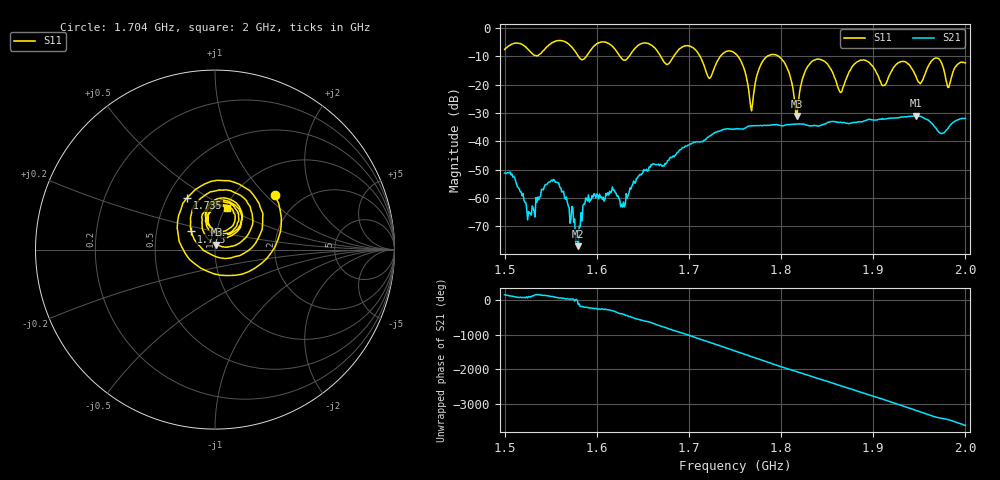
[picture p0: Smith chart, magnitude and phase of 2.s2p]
! NanoVNA-App by SYSJOINT et al v1.1.209 (+OD18)
! Date: 2026-01-21 14:49:24
! Start: 1,5GHz Stop: 2GHz Points: 501
! S-Parameter data: F S11 S21 S12 S22
# Hz S RI R 50
!  Frequency  S11_Real  S11_Imag  S21_Real  S21_Imag  S12_Real  S12_Imag  S22_Real  S22_Imag
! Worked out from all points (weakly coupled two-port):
!   501 points, 1.5 GHz to 2 GHz, reference 50 ohm
!   highest |S21| = -31.02 dB at 1.946 GHz (marker M1); lowest = -77.0 dB at 1.58 GHz (marker M2)
!   lowest |S11| = -31.1 dB at 1.817 GHz (marker M3), VSWR 1.06, Z = 50.7 + j2.71 ohm
!   |S11| at or under -10 dB: 1.712 GHz to 1.734 GHz (22.24 MHz wide, 1.29 % of centre); 1.753 GHz to 1.785 GHz (32.16 MHz wide, 1.82 % of centre); 1.797 GHz to end of sweep (the widest 3 of 6)
!   S12 and S22 are empty: the file has one direction only
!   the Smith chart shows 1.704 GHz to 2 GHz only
!   S11 on the Smith chart (normalised r, x): 1.704 GHz: 1.49, +1.12; 1.735 GHz: 0.63, +0.41; 1.775 GHz: 0.75, +0.16; 2 GHz: 1.01, +0.50
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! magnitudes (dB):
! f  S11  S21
! 1.5 GHz  -7.7  -51.2
! 1.527 GHz  -8.1  -65.4
! 1.557 GHz  -4.6  -54.6
! 1.58 GHz  -10.0  -77.0
! 1.584 GHz  -11.3  -68.1
! 1.607 GHz  -5.0  -59.7
! 1.629 GHz  -11.4  -61.4
! 1.667 GHz  -8.8  -48.1
! 1.704 GHz  -7.0  -40.6
! 1.722 GHz  -17.9  -38.3
! 1.735 GHz  -9.7  -36.2
! 1.75 GHz  -9.0  -35.7
! 1.768 GHz  -29.3  -34.6
! 1.775 GHz  -15.6  -34.5
! 1.8 GHz  -10.8  -34.5
! 1.817 GHz  -31.1  -34.0
! 1.834 GHz  -11.7  -34.5
! 1.864 GHz  -22.7  -33.3
! 1.886 GHz  -11.4  -33.2
! 1.917 GHz  -17.1  -31.9
! 1.946 GHz  -16.8  -31.0
! 2 GHz  -12.4  -31.9
